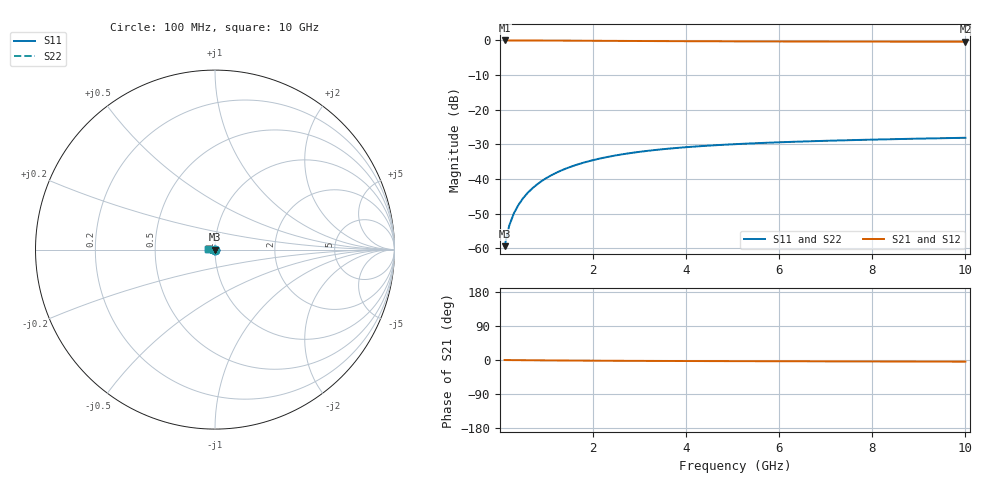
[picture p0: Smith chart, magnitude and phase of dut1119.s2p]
! Touchstone file exported from HFSS 2024.1.0
!  File:  C:/UserFiles/LocalFiles/RDL_TSV_Batchsim/temp_TSV1_1119_1780068898.aedt
!  Generated:  11:41:19 PM May 29, 2026
!  Design:  TSV1
!  Project:  temp_TSV1_1119_1780068898
!  Setup:  Setup1
!  Solution:  Sweep
! Variables:
!  dtsv = 10.68um
!  hbump = 3um
!  htsv = 66.23um
!  lrdl = 252.1521522um
!  p = 40
!  p1 = 51.52um
!  t = 500um
!  trdl = 3um
!  wrdl = 24.89489489um
# GHz S MA R 50.000000
! Terminal data exported
! Port[1] = TSV22_T1
! Port[2] = TSV22_T2
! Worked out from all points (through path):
!   100 points, 100 MHz to 10 GHz, reference 50 ohm
!   highest |S21| = 0.00 dB at 100 MHz (marker M1); lowest = -0.4 dB at 10 GHz (marker M2)
!   lowest |S11| = -59.4 dB at 100 MHz (marker M3), VSWR 1.00, Z = 50 - j0.106 ohm
!   |S11| at or under -10 dB: start of sweep to end of sweep
!   |S22| runs from -59.4 to -28.1 dB; largest |S21 - S12| = 1.4e-14
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0.1  0.001067 -85.8  0.9998 -0.1  0.9998 -0.1  0.001067 -85.8
! Gamma 0 0 0 0
! Port Impedance 50 0 50 0
0.2  0.002127 -90.5  0.9997 -0.2  0.9997 -0.2  0.002127 -90.5
0.3  0.003187 -93.3  0.9995 -0.3  0.9995 -0.3  0.003187 -93.3
0.4  0.004244 -95.6  0.9993 -0.4  0.9993 -0.4  0.004244 -95.6
0.5  0.005292 -97.7  0.999 -0.5  0.999 -0.5  0.005292 -97.7
0.6  0.006329 -99.8  0.9986 -0.6  0.9986 -0.6  0.006329 -99.8
0.7  0.007351 -101.8  0.9982 -0.7  0.9982 -0.7  0.007351 -101.8
0.8  0.008357 -103.7  0.9977 -0.8  0.9977 -0.8  0.008357 -103.7
0.9  0.009344 -105.6  0.9971 -0.9  0.9971 -0.9  0.009344 -105.6
1.1  0.01126 -109.2  0.9959 -1.1  0.9959 -1.1  0.01126 -109.2
1.4  0.01395 -114.3  0.9939 -1.4  0.9939 -1.4  0.01395 -114.3
1.6  0.01563 -117.6  0.9924 -1.5  0.9924 -1.5  0.01563 -117.6
1.8  0.0172 -120.8  0.9909 -1.7  0.9909 -1.7  0.0172 -120.8
2.1  0.01937 -125.2  0.9885 -1.9  0.9885 -1.9  0.01937 -125.2
2.5  0.02191 -130.7  0.9854 -2.1  0.9854 -2.1  0.02192 -130.7
2.9  0.02411 -135.6  0.9824 -2.3  0.9824 -2.3  0.02411 -135.6
3.4  0.02643 -141.2  0.979 -2.5  0.979 -2.5  0.02643 -141.2
4.2  0.02937 -149.0  0.9744 -2.8  0.9744 -2.8  0.02937 -149.0
5.1  0.03187 -156.3  0.9703 -3.0  0.9703 -3.0  0.03187 -156.3
6.7  0.03503 -166.8  0.9651 -3.5  0.9651 -3.5  0.03503 -166.8
8.4  0.03744 -175.7  0.9614 -3.9  0.9614 -3.9  0.03744 -175.7
10  0.03927 177.2  0.9591 -4.4  0.9591 -4.4  0.03927 177.2
